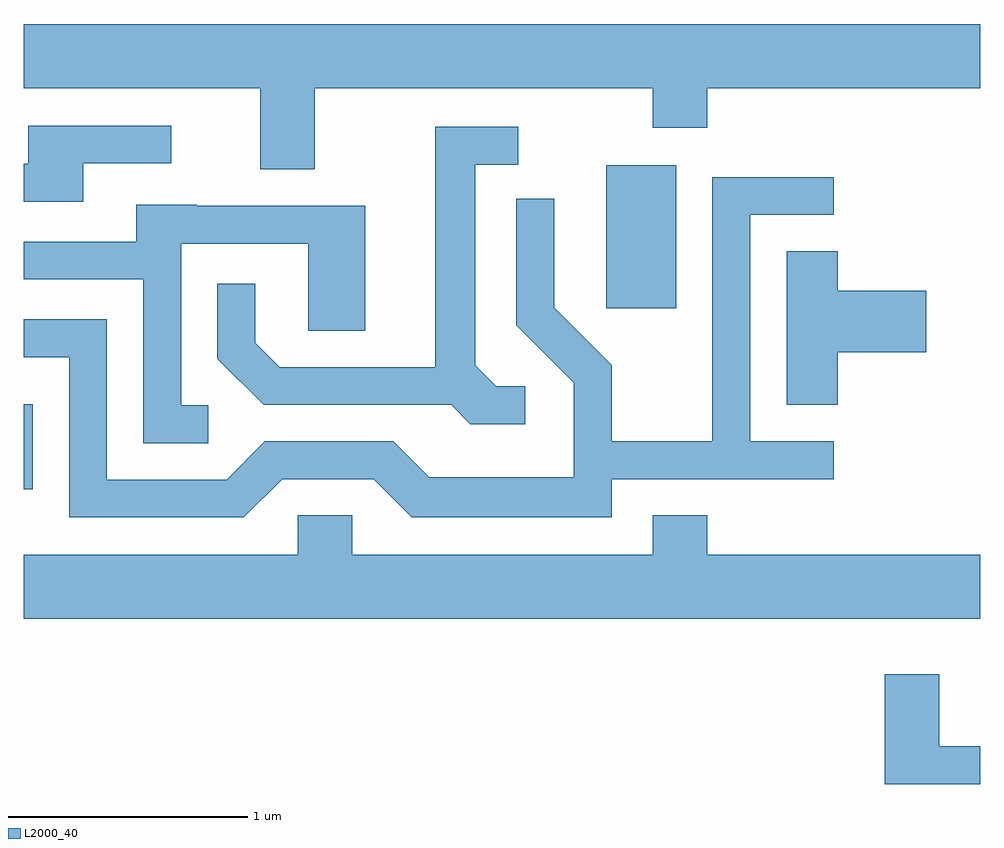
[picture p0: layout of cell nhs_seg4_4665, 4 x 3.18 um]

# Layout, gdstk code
import gdstk
lib = gdstk.Library(unit=1e-6, precision=1e-09)
def R(c, l, rs):  # rectangles x0, y0, x1, y1
    for r in rs: c.add(gdstk.rectangle(r[:2], r[2:], *l))
def P(c, l, *ps):  # polygons
    for p in ps: c.add(gdstk.Polygon(p, *l))
L2000_40 = (2000, 40)

nhs_seg4_4665 = lib.new_cell('nhs_seg4_4665')
R(nhs_seg4_4665, L2000_40, [(321.611,1337.458,321.649,1337.814), (324.046,1338.216,324.339,1338.814)])
P(nhs_seg4_4665, L2000_40, [(322.829,1339.136),(324.241,1339.136),(324.241,1338.971),(324.469,1338.971),(324.469,1339.136),(325.611,1339.136),(325.611,1339.404),(321.611,1339.404),(321.611,1339.136),(322.601,1339.136),(322.601,1338.796),(322.829,1338.796)],
  [(321.859,1338.821),(322.228,1338.821),(322.228,1338.979),(321.631,1338.979),(321.631,1338.819),(321.611,1338.819),(321.611,1338.661),(321.859,1338.661)],
  [(323.708,1337.889),(323.587,1337.889),(323.499,1337.977),(323.499,1338.816),(323.678,1338.816),(323.678,1338.974),(323.331,1338.974),(323.331,1337.969),(322.682,1337.969),(322.579,1338.072),(322.579,1338.318),(322.421,1338.318),(322.421,1338.004),(322.614,1337.811),(323.399,1337.811),(323.479,1337.731),(323.708,1337.731)],
  [(322.692,1337.501),(323.074,1337.501),(323.234,1337.341),(324.069,1337.341),(324.069,1337.501),(324.998,1337.501),(324.998,1337.659),(324.649,1337.659),(324.649,1338.606),(324.998,1338.606),(324.998,1338.764),(324.491,1338.764),(324.491,1337.659),(324.069,1337.659),(324.069,1337.977),(323.829,1338.217),(323.829,1338.673),(323.671,1338.673),(323.671,1338.144),(323.911,1337.904),(323.911,1337.509),(323.307,1337.509),(323.157,1337.659),(322.619,1337.659),(322.459,1337.499),(321.959,1337.499),(321.959,1338.169),(321.611,1338.169),(321.611,1338.011),(321.801,1338.011),(321.801,1337.341),(322.532,1337.341)],
  [(322.383,1337.809),(322.269,1337.809),(322.269,1338.486),(322.801,1338.486),(322.801,1338.121),(323.039,1338.121),(323.039,1338.644),(322.335,1338.644),(322.335,1338.649),(322.081,1338.649),(322.081,1338.494),(321.611,1338.494),(321.611,1338.336),(322.111,1338.336),(322.111,1337.651),(322.383,1337.651)],
  [(325.014,1338.031),(325.384,1338.031),(325.384,1338.289),(325.014,1338.289),(325.014,1338.454),(324.801,1338.454),(324.801,1337.811),(325.014,1337.811)],
  [(325.611,1337.184),(324.469,1337.184),(324.469,1337.349),(324.241,1337.349),(324.241,1337.184),(322.984,1337.184),(322.984,1337.349),(322.756,1337.349),(322.756,1337.184),(321.611,1337.184),(321.611,1336.916),(325.611,1336.916)],
  [(325.611,1336.384),(325.439,1336.384),(325.439,1336.684),(325.211,1336.684),(325.211,1336.226),(325.611,1336.226)])

lib.write_gds('nhs_seg4_4665.gds')
